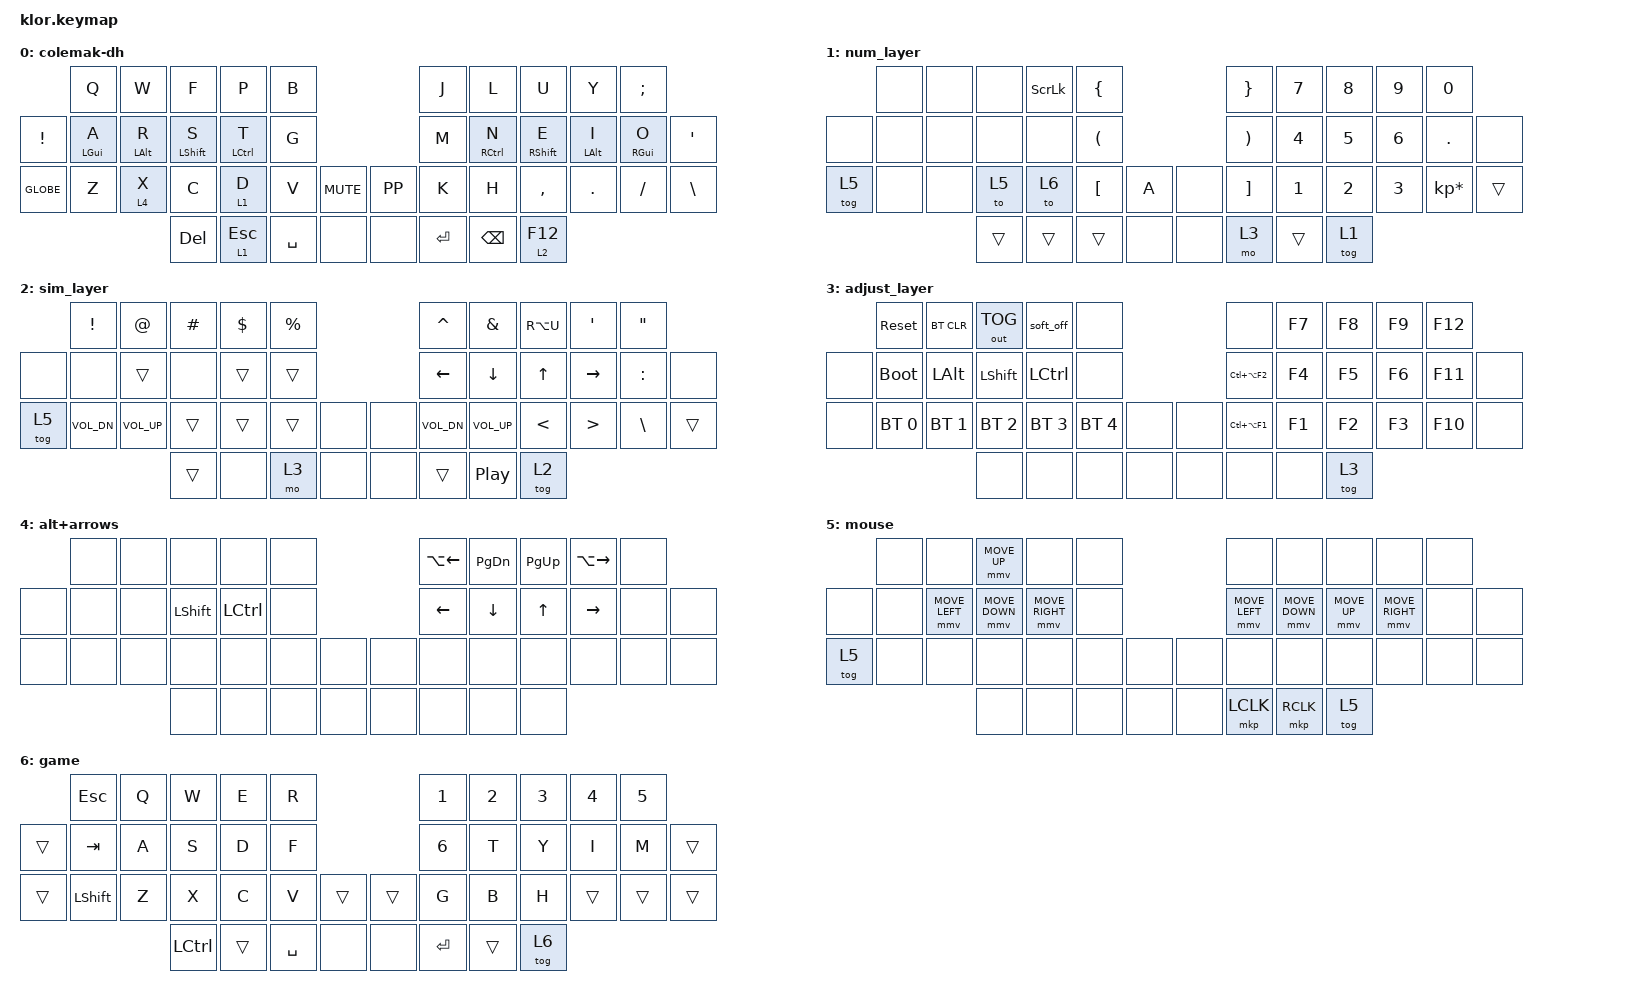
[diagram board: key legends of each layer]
// vim: commentstring=//%s

#include <behaviors.dtsi>
#include <dt-bindings/zmk/bt.h>
#include <dt-bindings/zmk/keys.h>
#include <dt-bindings/zmk/outputs.h>
#include <dt-bindings/zmk/pointing.h>

#define BASE   0
#define RAISE  1
#define LOWER  2
#define ADJUST 3

&lt {
    quick-tap-ms = <200>;
    require-prior-idle-ms = <150>;
    tapping-term-ms = <280>;
    hold-trigger-on-release;
    flavor = "balanced";
};

/ {
    behaviors {
        hmr: hmr {
            compatible = "zmk,behavior-hold-tap";
            bindings = <&kp>, <&kp>;

            #binding-cells = <2>;
            tapping-term-ms = <280>;
            quick-tap-ms = <200>;
            flavor = "balanced";
            hold-trigger-key-positions = <10 0 1 11 22 23 2 3 13 25 4 12 14 24 36 37 15 38 27 26 28 39 40 41 42 43>;
            require-prior-idle-ms = <150>;
            hold-trigger-on-release;
        };

        hml: hml {
            compatible = "zmk,behavior-hold-tap";
            bindings = <&kp>, <&kp>;

            #binding-cells = <2>;
            tapping-term-ms = <280>;
            quick-tap-ms = <200>;
            flavor = "balanced";
            hold-trigger-key-positions = <32 33 34 35 36 5 7 16 6 17 8 18 29 30 19 9 31 38 37 41 39 40 41 42 43 20 21>;
            require-prior-idle-ms = <150>;
            hold-trigger-on-release;
        };
    };

    combos {
        compatible = "zmk,combos";

        combo_esc {
            timeout-ms = <50>;
            key-positions = <0 1>;
            bindings = <&kp ESC>;
            require-prior-idle-ms = <150>;
            layers = <0>;
        };

        esc {
            timeout-ms = <100>;
            key-positions = <12 13 14>;
            bindings = <&kp ESCAPE>;
            require-prior-idle-ms = <150>;
            layers = <0>;
        };

        excl {
            bindings = <&kp EXCLAMATION>;
            key-positions = <0 11>;
            require-prior-idle-ms = <150>;
            layers = <0>;
        };

        hash {
            bindings = <&kp HASH>;
            key-positions = <2 13>;
            require-prior-idle-ms = <150>;
            layers = <0>;
        };

        dollar {
            bindings = <&kp DLLR>;
            key-positions = <3 14>;
            require-prior-idle-ms = <150>;
            layers = <0>;
        };

        at {
            bindings = <&kp AT>;
            key-positions = <1 12>;
            require-prior-idle-ms = <150>;
            layers = <0>;
        };

        percent {
            bindings = <&kp PERCENT>;
            key-positions = <4 15>;
            require-prior-idle-ms = <150>;
            layers = <0>;
        };

        caret {
            bindings = <&kp CARET>;
            key-positions = <5 16>;
            require-prior-idle-ms = <150>;
            layers = <0>;
        };

        plus {
            bindings = <&kp PLUS>;
            key-positions = <6 17>;
            require-prior-idle-ms = <150>;
            layers = <0>;
        };

        mul {
            bindings = <&kp KP_MULTIPLY>;
            key-positions = <7 18>;
            require-prior-idle-ms = <150>;
            layers = <0>;
        };

        and {
            bindings = <&kp AMPERSAND>;
            key-positions = <8 19>;
            require-prior-idle-ms = <150>;
            layers = <0>;
        };

        minus {
            bindings = <&kp MINUS>;
            key-positions = <17 31>;
            require-prior-idle-ms = <150>;
            layers = <0>;
        };

        under {
            bindings = <&kp UNDERSCORE>;
            key-positions = <16 30>;
            require-prior-idle-ms = <150>;
            layers = <0>;
        };

        eql {
            bindings = <&kp EQUAL>;
            key-positions = <14 26>;
            require-prior-idle-ms = <150>;
            layers = <0>;
        };

        tilda {
            bindings = <&kp TILDE>;
            key-positions = <27 15>;
            require-prior-idle-ms = <150>;
            layers = <0>;
        };

        grave {
            bindings = <&kp GRAVE>;
            key-positions = <11 23>;
            require-prior-idle-ms = <150>;
            layers = <0>;
        };

        tab {
            bindings = <&kp TAB>;
            key-positions = <11 12>;
            require-prior-idle-ms = <150>;
            layers = <0>;
        };

        colon {
            bindings = <&kp COLON>;
            key-positions = <19 20>;
            require-prior-idle-ms = <150>;
            layers = <0>;
        };

        capsw {
            bindings = <&caps_word>;
            key-positions = <13 18>;
            require-prior-idle-ms = <150>;
            layers = <0>;
        };

        quote {
            bindings = <&kp SINGLE_QUOTE>;
            key-positions = <9 20>;
            require-prior-idle-ms = <150>;
            layers = <0>;
        };

        d-quote {
            bindings = <&kp DOUBLE_QUOTES>;
            key-positions = <34 20>;
            require-prior-idle-ms = <150>;
            layers = <0>;
        };

        under2 {
            bindings = <&kp UNDERSCORE>;
            key-positions = <31 32>;
            require-prior-idle-ms = <150>;
            layers = <0>;
        };

        bracket_left {
            bindings = <&kp LEFT_BRACKET>;
            key-positions = <27 26>;
            require-prior-idle-ms = <150>;
            layers = <0>;
        };

        bracket_right {
            bindings = <&kp RIGHT_BRACKET>;
            key-positions = <30 31>;
            require-prior-idle-ms = <150>;
            layers = <0>;
        };

        paren_left {
            bindings = <&kp LEFT_PARENTHESIS>;
            key-positions = <15 14>;
            require-prior-idle-ms = <150>;
            layers = <0>;
        };

        paren_right {
            bindings = <&kp RIGHT_PARENTHESIS>;
            key-positions = <16 17>;
            require-prior-idle-ms = <150>;
            layers = <0>;
        };

        brace_left {
            bindings = <&kp LEFT_BRACE>;
            key-positions = <3 4>;
            require-prior-idle-ms = <150>;
            layers = <0>;
        };

        brace_right {
            bindings = <&kp RIGHT_BRACE>;
            key-positions = <5 6>;
            require-prior-idle-ms = <150>;
            layers = <0>;
        };

        hyper_t_pf {
            bindings = <&kp LS(LC(LA(LG(T))))>;
            key-positions = <2 3>;
            require-prior-idle-ms = <150>;
            layers = <0>;
        };

        hyper_t_lu {
            bindings = <&kp LS(LC(LA(LG(T))))>;
            key-positions = <6 7>;
            require-prior-idle-ms = <150>;
            layers = <0>;
        };
    };

    macros {
        macro_closetab: macro_closetab {
            compatible = "zmk,behavior-macro";
            #binding-cells = <0>;
            bindings =
                <&macro_press>,
                <&kp LCTRL>,
                <&macro_tap>,
                <&kp F4>,
                <&macro_release>,
                <&kp LCTRL>;
        };

        macro_lasttab: macro_lasttab {
            compatible = "zmk,behavior-macro";
            #binding-cells = <0>;
            bindings =
                <&macro_press>,
                <&kp LCTRL>,
                <&macro_tap>,
                <&kp LS(T)>,
                <&macro_release>,
                <&kp LCTRL>;
        };

        macro_terminal: macro_terminal {
            compatible = "zmk,behavior-macro";
            #binding-cells = <0>;
            bindings =
                <&macro_press>,
                <&kp LCTRL>,
                <&macro_tap>,
                <&kp LA(T)>,
                <&macro_release>,
                <&kp LCTRL>;
        };
    };

    keymap {
        compatible = "zmk,keymap";

        colemak-dh {
            bindings = <
           &kp Q        &kp W        &kp F         &kp P         &kp B                            &kp J    &kp L          &kp U         &kp Y        &kp SEMICOLON
&kp EXCL   &hml LGUI A  &hml LALT R  &hml LSHFT S  &hml LCTRL T  &kp G                            &kp M    &hmr RCTRL N   &hmr RSHFT E  &hmr LALT I  &hmr RGUI O    &kp SQT
&kp GLOBE  &kp Z        &lt 4 X      &kp C         &lt 1 D       &kp V      &kp C_MUTE  &kp K_PP  &kp K    &kp H          &kp COMMA     &kp DOT      &kp SLASH      &kp BACKSLASH
                                     &kp DEL       &lt 1 ESCAPE  &kp SPACE  &none       &none     &kp RET  &kp BACKSPACE  &lt 2 F12
            >;

        };

        num_layer {
            bindings = <
        &none  &none  &none   &kp SCROLLLOCK  &kp LBRC                &kp RBRC  &kp N7  &kp N8  &kp N9  &kp N0
&none   &none  &none  &none   &none           &kp LPAR                &kp RPAR  &kp N4  &kp N5  &kp N6  &kp DOT          &none
&tog 5  &none  &none  &to 5   &to 6           &kp LBKT  &kp A  &none  &kp RBKT  &kp N1  &kp N2  &kp N3  &kp KP_MULTIPLY  &trans
                      &trans  &trans          &trans    &none  &none  &mo 3     &trans  &tog 1
            >;
        };

        sim_layer {
            bindings = <
        &kp EXCL      &kp AT           &kp HASH  &kp DLLR  &kp PRCNT                &kp CARET     &kp AMPS      &kp RA(U)      &kp SQT           &kp DQT
&none   &none         &trans           &none     &trans    &trans                   &kp LEFT      &kp DOWN      &kp UP         &kp RIGHT         &kp COLON  &none
&tog 5  &kp C_VOL_DN  &kp C_VOLUME_UP  &trans    &trans    &trans     &none  &none  &kp C_VOL_DN  &kp C_VOL_UP  &kp LESS_THAN  &kp GREATER_THAN  &kp BSLH   &trans
                                       &trans    &none     &mo 3      &none  &none  &trans        &kp C_PP      &tog 2
            >;
        };

        adjust_layer {
            bindings = <
       &sys_reset    &bt BT_CLR    &out OUT_TOG    &soft_off     &none                       &none           &kp F7  &kp F8  &kp F9  &kp F12
&none  &bootloader   &kp LEFT_ALT  &kp LEFT_SHIFT  &kp LCTRL     &none                       &kp LC(LA(F2))  &kp F4  &kp F5  &kp F6  &kp F11  &none
&none  &bt BT_SEL 0  &bt BT_SEL 1  &bt BT_SEL 2    &bt BT_SEL 3  &bt BT_SEL 4  &none  &none  &kp LC(LA(F1))  &kp F1  &kp F2  &kp F3  &kp F10  &none
                                   &none           &none         &none         &none  &none  &none           &none   &tog 3
            >;
        };

        alt+arrows {
            bindings = <
       &none  &none  &none       &none      &none                &kp LA(LEFT)  &kp PAGE_DOWN  &kp PAGE_UP  &kp LA(RIGHT)  &none
&none  &none  &none  &kp LSHIFT  &kp LCTRL  &none                &kp LEFT      &kp DOWN       &kp UP       &kp RIGHT      &none  &none
&none  &none  &none  &none       &none      &none  &none  &none  &none         &none          &none        &none          &none  &none
                     &none       &none      &none  &none  &none  &none         &none          &none
            >;
        };

        mouse {
            bindings = <
        &none  &none           &mmv MOVE_UP    &none            &none                &none           &none           &none         &none            &none
&none   &none  &mmv MOVE_LEFT  &mmv MOVE_DOWN  &mmv MOVE_RIGHT  &none                &mmv MOVE_LEFT  &mmv MOVE_DOWN  &mmv MOVE_UP  &mmv MOVE_RIGHT  &none  &none
&tog 5  &none  &none           &none           &none            &none  &none  &none  &none           &none           &none         &none            &none  &none
                               &none           &none            &none  &none  &none  &mkp LCLK       &mkp RCLK       &tog 5
            >;
        };

        game {
            bindings = <
        &kp ESCAPE      &kp Q  &kp W      &kp E   &kp R                    &kp N1   &kp N2  &kp N3  &kp N4  &kp N5
&trans  &kp TAB         &kp A  &kp S      &kp D   &kp F                    &kp N6   &kp T   &kp Y   &kp I   &kp M   &trans
&trans  &kp LEFT_SHIFT  &kp Z  &kp X      &kp C   &kp V   &trans  &trans   &kp G    &kp B   &kp H   &trans  &trans  &trans
                               &kp LCTRL  &trans  &kp SPACE  &none  &none  &kp RET  &trans  &tog 6
            >;
        };

        //         lower_layer {
        //             bindings = <
        //            &kp F1    &kp F2  &kp F3     &kp F4    &kp F5                            &kp F6     &kp F7    &kp F8     &kp F9     &kp F10
        // &kp MINUS  &kp EXCL  &kp AT  &kp POUND  &kp DLLR  &kp PRCNT                         &kp CARET  &kp AMPS  &kp GRAVE  &kp TILDE  &kp EQUAL  &kp KP_PLUS
        // &kp UNDER  &kp N1    &kp N2  &kp N3     &kp N4    &kp N5     &kp C_MUTE  &kp K_PP   &kp N6     &kp N7    &kp N8     &kp N9     &kp N0     &kp KP_MULTIPLY
        //                              &trans     &trans    &trans     &mo LSHFT   &mo RSHFT  &trans     &trans    &trans
        //             >;
        //             sensor-bindings = <&inc_dec_kp C_VOL_UP C_VOL_DN &inc_dec_kp C_NEXT C_PREV>;
        //         };
    };
};
